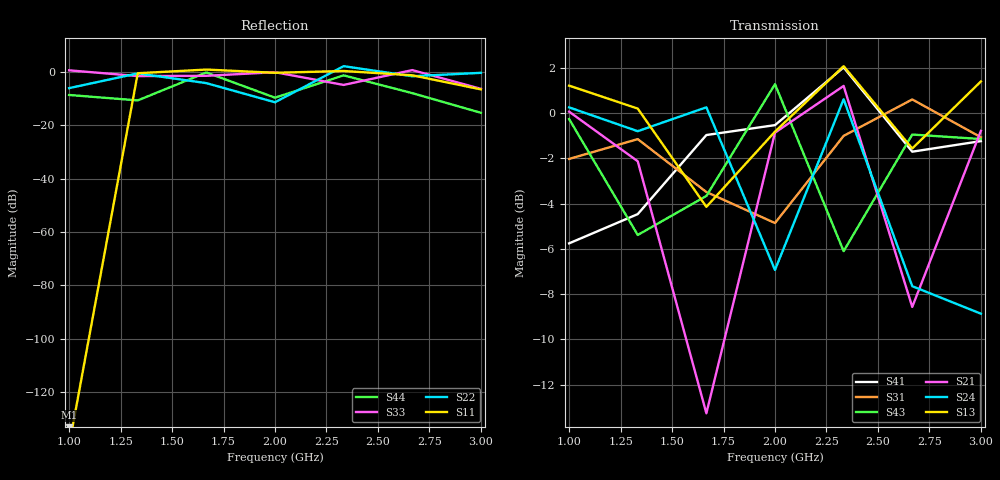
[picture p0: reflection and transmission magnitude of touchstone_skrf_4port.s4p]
! Created with skrf 1.9.0 (http://scikit-rf.org).
# Hz S RI R 50.0
!freq ReS11 ImS11 ReS12 ImS12 ReS13 ImS13
! ReS14 ImS14
! ReS21 ImS21 ReS22 ImS22 ReS23 ImS23
! ReS24 ImS24
! ReS31 ImS31 ReS32 ImS32 ReS33 ImS33
! ReS34 ImS34
! ReS41 ImS41 ReS42 ImS42 ReS43 ImS43
! ReS44 ImS44
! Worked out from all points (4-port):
!   7 points, 1 GHz to 3 GHz, reference 50 ohm
!   strongest paths, dB at 1 GHz, 1.333 GHz, 2 GHz, 2.667 GHz, 3 GHz:
!     S13: 1.2, 0.2, -0.8, -1.6, 1.4
!     S24: 0.2, -0.8, -6.9, -7.7, -8.9
!     S21: 0.1, -2.1, -0.9, -8.6, -0.8
!     S43: -0.3, -5.4, 1.3, -1.0, -1.2
!     S31: -2.0, -1.2, -4.9, 0.6, -1.1
!     S41: -5.8, -4.5, -0.5, -1.7, -1.2
!   lowest |S11| = -140.0 dB at 1 GHz (marker M1), VSWR 1.00, Z = 50 - j2.5e-10 ohm
!   |S11| at or under -10 dB: start of sweep to 1.311 GHz
1e9  1e-07 -2.5e-12  0.0227 0.6251  0.9525 0.6432  0 0
     0.2147 -0.9836  -0.247 -0.4277  0.6038 0.0036  -0.6509 0.7969
     0.7433 -0.2724  0.0879 0.1011  0.8044 0.6971  -0.0457 -0.3172
     -0.139 0.4961  0.5779 0.1901  0.9683 0.0507  -0.2605 0.2596
1.333333e9  0.9379 -0.0303  0.8581 -0.7741  -0.6446 0.7938  0 0
            0.4097 0.6663  0.8856 -0.2924  0.3313 0.2678  -0.7332 0.5415
            -0.00426 -0.8755  -0.0128 0.5789  0.000452 -0.8302  0.9172 0.8796
            -0.3001 -0.5171  -0.5525 0.9263  0.0442 -0.5359  0.2823 0.0708
1.666667e9  0.8782 0.6629  0.164 0.9751  -0.4643 0.4114  0 0
            -0.0165 -0.2164  0.3516 0.5014  -0.0479 -0.2307  -0.566 0.8597
            0.3851 0.547  0.5413 -0.2412  -0.6184 0.5684  -0.0802 -0.867
            -0.2764 0.8502  -0.6585 0.3863  -0.5573 -0.3456  0.925 0.2939
2e9  0.7684 0.5686  -0.2354 0.2566  0.4789 0.7732  0 0
     0.8301 -0.36  0.0743 -0.2581  0.6405 -0.4365  -0.4481 -0.0419
     -0.2478 0.5148  -0.3039 0.7491  0.9449 0.2655  -0.1411 0.5715
     -0.000615 0.9401  0.912 0.3194  0.8064 -0.8307  -0.21 0.2512
2.333333e9  -0.3853 -0.9604  0.6141 0.3553  -0.7851 0.9968  0 0
            0.7529 0.866  0.8353 -0.9608  -0.533 0.9303  -0.8426 -0.6632
            0.5755 0.679  0.2436 -0.4034  -0.525 -0.2135  0.0118 -0.7349
            -0.8572 -0.9251  0.4002 0.5044  0.0535 0.4922  0.4093 -0.753
2.666667e9  -0.8237 0.2451  0.2896 -0.4849  -0.2593 0.7934  0 0
            -0.329 0.1754  0.2682 0.7796  0.1365 0.0768  0.2342 0.3417
            -0.8732 0.6208  -0.5497 0.4139  -0.8562 0.6498  -0.2334 -0.5523
            -0.038 0.8205  -0.7753 0.00751  0.3352 0.8311  -0.0253 0.3973
3e9  0.000659 0.4682  0.1949 0.902  0.8698 -0.7885  0 0
     -0.813 -0.4153  -0.7071 0.6426  0.3878 -0.5521  -0.3548 -0.0628
     0.5106 -0.7216  0.0213 0.6107  -0.2406 -0.4148  0.4789 -0.0535
     -0.634 0.5909  -0.4304 -0.2573  -0.4161 0.7708  -0.1694 0.0211
